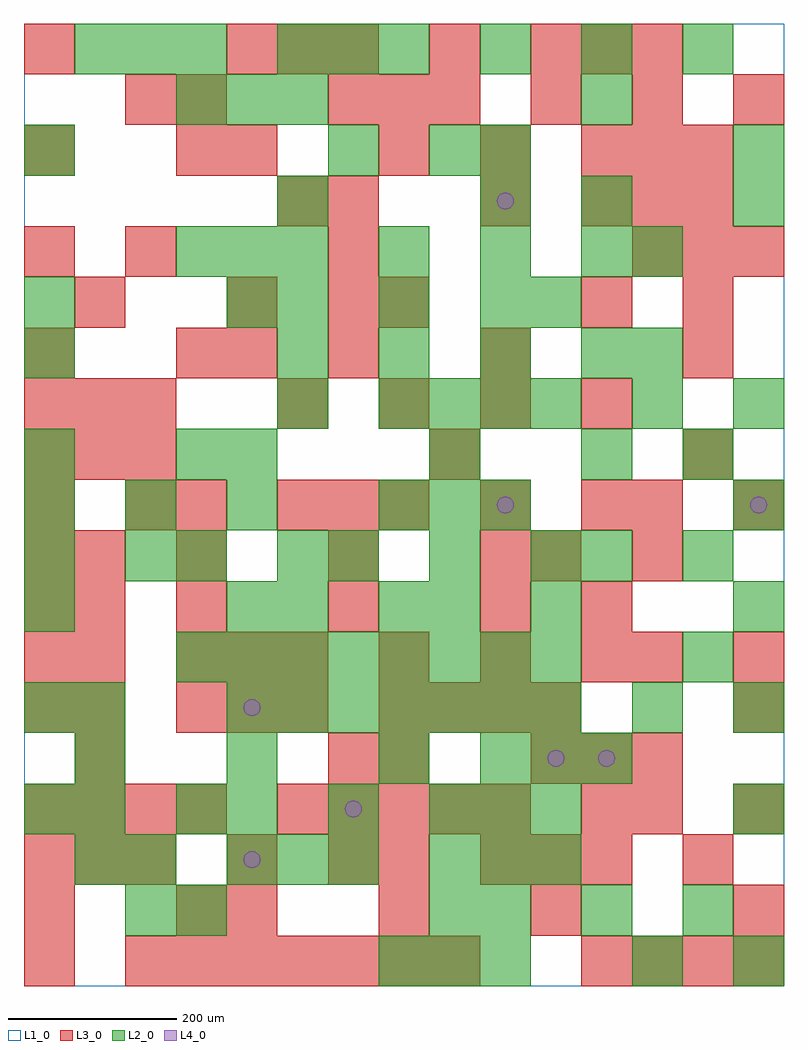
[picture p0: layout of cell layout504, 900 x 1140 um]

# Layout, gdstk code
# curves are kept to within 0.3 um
import gdstk
lib = gdstk.Library(unit=1e-6, precision=1e-09)
def R(c, l, rs):  # rectangles x0, y0, x1, y1
    for r in rs: c.add(gdstk.rectangle(r[:2], r[2:], *l))
def A(c, l, x, y, w, h, nx, ny, dx, dy):  # array of equal rectangles
    R(c, l, [(x+i*dx, y+j*dy, x+i*dx+w, y+j*dy+h) for i in range(nx) for j in range(ny)])
def P(c, l, *ps):  # polygons
    for p in ps: c.add(gdstk.Polygon(p, *l))
L1_0 = (1, 0)
L2_0 = (2, 0)
L3_0 = (3, 0)
L4_0 = (4, 0)

layout504 = lib.new_cell('layout504')
R(layout504, L1_0, [(0,0,900,1140)])
A(layout504, L2_0, 420, 0, 60, 60, 3, 2, 60, 540)
A(layout504, L2_0, 540, 60, 60, 60, 3, 2, 120, 1020)
A(layout504, L2_0, 240, 120, 60, 60, 3, 1, 60, 0)
A(layout504, L2_0, 480, 120, 60, 60, 3, 1, 60, 0)
A(layout504, L2_0, 0, 180, 60, 60, 1, 3, 0, 120)
A(layout504, L2_0, 240, 180, 60, 60, 3, 1, 120, 0)
A(layout504, L2_0, 840, 180, 60, 60, 1, 5, 0, 120)
A(layout504, L2_0, 60, 240, 60, 60, 3, 1, 180, 0)
A(layout504, L2_0, 540, 240, 60, 60, 3, 1, 60, 0)
A(layout504, L2_0, 240, 300, 60, 60, 7, 1, 60, 0)
A(layout504, L2_0, 180, 360, 60, 60, 8, 1, 60, 0)
A(layout504, L2_0, 780, 360, 60, 60, 1, 3, 0, 120)
A(layout504, L2_0, 240, 420, 60, 60, 1, 3, 0, 180)
A(layout504, L2_0, 0, 480, 60, 60, 1, 3, 0, 120)
A(layout504, L2_0, 360, 480, 60, 60, 3, 1, 120, 0)
A(layout504, L2_0, 0, 540, 60, 60, 3, 1, 120, 0)
A(layout504, L2_0, 420, 660, 60, 60, 4, 1, 60, 0)
A(layout504, L2_0, 300, 720, 60, 60, 4, 1, 120, 0)
A(layout504, L2_0, 300, 780, 60, 60, 3, 1, 120, 0)
A(layout504, L2_0, 180, 840, 60, 60, 3, 2, 60, 180)
A(layout504, L2_0, 420, 840, 60, 60, 3, 1, 120, 0)
A(layout504, L2_0, 60, 1080, 60, 60, 3, 1, 60, 0)
A(layout504, L2_0, 300, 1080, 60, 60, 3, 1, 60, 0)
R(layout504, L2_0, [(720,0,780,60), (840,0,900,60), (120,60,180,120), (180,60,240,120), (480,60,540,120), (60,120,120,180), (120,120,180,180), (60,180,120,240), (180,180,240,240), (540,180,600,240), (600,180,660,240), (60,300,120,360), (720,300,780,360), (300,420,360,480), (420,420,480,480), (480,420,540,480), (600,420,660,480), (120,480,180,540), (180,480,240,540), (300,480,360,540), (660,480,720,540), (180,600,240,660), (480,600,540,660), (660,600,720,660), (300,660,360,720), (720,660,780,720), (720,720,780,780), (0,780,60,840), (600,780,660,840), (720,840,780,900), (300,900,360,960), (540,900,600,960), (660,900,720,960), (840,900,900,960), (0,960,60,1020), (360,960,420,1020), (480,960,540,1020), (540,960,600,1020), (840,960,900,1020), (660,1020,720,1080)])
A(layout504, L3_0, 120, 0, 60, 60, 7, 1, 60, 0)
A(layout504, L3_0, 660, 0, 60, 60, 4, 1, 60, 0)
A(layout504, L3_0, 240, 60, 60, 60, 3, 1, 180, 0)
A(layout504, L3_0, 840, 60, 60, 60, 1, 3, 0, 120)
A(layout504, L3_0, 0, 120, 60, 60, 3, 2, 60, 480)
A(layout504, L3_0, 540, 120, 60, 60, 3, 1, 60, 0)
A(layout504, L3_0, 0, 180, 60, 60, 4, 1, 60, 0)
A(layout504, L3_0, 300, 180, 60, 60, 5, 1, 60, 0)
A(layout504, L3_0, 60, 240, 60, 60, 1, 5, 0, 60)
A(layout504, L3_0, 600, 240, 60, 60, 3, 2, 60, 840)
A(layout504, L3_0, 0, 300, 60, 60, 1, 5, 0, 60)
A(layout504, L3_0, 180, 300, 60, 60, 3, 2, 60, 60)
A(layout504, L3_0, 420, 300, 60, 60, 4, 1, 60, 0)
A(layout504, L3_0, 420, 360, 60, 60, 3, 2, 120, 600)
A(layout504, L3_0, 180, 420, 60, 60, 3, 2, 180, 60)
A(layout504, L3_0, 300, 540, 60, 60, 3, 1, 60, 0)
A(layout504, L3_0, 540, 540, 60, 60, 1, 3, 0, 180)
A(layout504, L3_0, 0, 660, 60, 60, 3, 1, 60, 0)
A(layout504, L3_0, 300, 660, 60, 60, 4, 1, 120, 0)
A(layout504, L3_0, 0, 720, 60, 60, 1, 4, 0, 120)
A(layout504, L3_0, 360, 720, 60, 60, 1, 4, 0, 60)
A(layout504, L3_0, 720, 840, 60, 60, 3, 1, 60, 0)
A(layout504, L3_0, 660, 900, 60, 60, 3, 1, 60, 0)
A(layout504, L3_0, 360, 1020, 60, 60, 3, 1, 60, 0)
A(layout504, L3_0, 600, 1020, 60, 60, 3, 1, 120, 0)
A(layout504, L3_0, 240, 1080, 60, 60, 3, 1, 60, 0)
R(layout504, L3_0, [(0,0,60,60), (0,60,60,120), (180,60,240,120), (240,120,300,180), (360,120,420,180), (420,120,480,180), (780,120,840,180), (660,180,720,240), (720,180,780,240), (360,240,420,300), (420,240,480,300), (720,360,780,420), (840,360,900,420), (660,420,720,480), (600,480,660,540), (720,480,780,540), (120,540,180,600), (180,540,240,600), (660,540,720,600), (720,540,780,600), (840,540,900,600), (480,600,540,660), (780,600,840,660), (180,720,240,780), (240,720,300,780), (780,720,840,780), (60,780,120,840), (240,780,300,840), (420,780,480,840), (660,780,720,840), (780,780,840,840), (120,840,180,900), (300,900,360,960), (180,960,240,1020), (240,960,300,1020), (720,960,780,1020), (780,960,840,1020), (120,1020,180,1080), (180,1020,240,1080), (480,1080,540,1140)])
P(layout504, L4_0, [(280,150),(279.239,153.827),(277.071,157.071),(273.827,159.239),(270,160),(266.173,159.239),(262.929,157.071),(260.761,153.827),(260,150),(260.761,146.173),(262.929,142.929),(266.173,140.761),(270,140),(273.827,140.761),(277.071,142.929),(279.239,146.173)],
  [(280,330),(279.239,333.827),(277.071,337.071),(273.827,339.239),(270,340),(266.173,339.239),(262.929,337.071),(260.761,333.827),(260,330),(260.761,326.173),(262.929,322.929),(266.173,320.761),(270,320),(273.827,320.761),(277.071,322.929),(279.239,326.173)],
  [(400,210),(399.239,213.827),(397.071,217.071),(393.827,219.239),(390,220),(386.173,219.239),(382.929,217.071),(380.761,213.827),(380,210),(380.761,206.173),(382.929,202.929),(386.173,200.761),(390,200),(393.827,200.761),(397.071,202.929),(399.239,206.173)],
  [(580,570),(579.239,573.827),(577.071,577.071),(573.827,579.239),(570,580),(566.173,579.239),(562.929,577.071),(560.761,573.827),(560,570),(560.761,566.173),(562.929,562.929),(566.173,560.761),(570,560),(573.827,560.761),(577.071,562.929),(579.239,566.173)],
  [(580,930),(579.239,933.827),(577.071,937.071),(573.827,939.239),(570,940),(566.173,939.239),(562.929,937.071),(560.761,933.827),(560,930),(560.761,926.173),(562.929,922.929),(566.173,920.761),(570,920),(573.827,920.761),(577.071,922.929),(579.239,926.173)],
  [(640,270),(639.239,273.827),(637.071,277.071),(633.827,279.239),(630,280),(626.173,279.239),(622.929,277.071),(620.761,273.827),(620,270),(620.761,266.173),(622.929,262.929),(626.173,260.761),(630,260),(633.827,260.761),(637.071,262.929),(639.239,266.173)],
  [(700,270),(699.239,273.827),(697.071,277.071),(693.827,279.239),(690,280),(686.173,279.239),(682.929,277.071),(680.761,273.827),(680,270),(680.761,266.173),(682.929,262.929),(686.173,260.761),(690,260),(693.827,260.761),(697.071,262.929),(699.239,266.173)],
  [(880,570),(879.239,573.827),(877.071,577.071),(873.827,579.239),(870,580),(866.173,579.239),(862.929,577.071),(860.761,573.827),(860,570),(860.761,566.173),(862.929,562.929),(866.173,560.761),(870,560),(873.827,560.761),(877.071,562.929),(879.239,566.173)])

lib.write_gds('layout504.gds')
